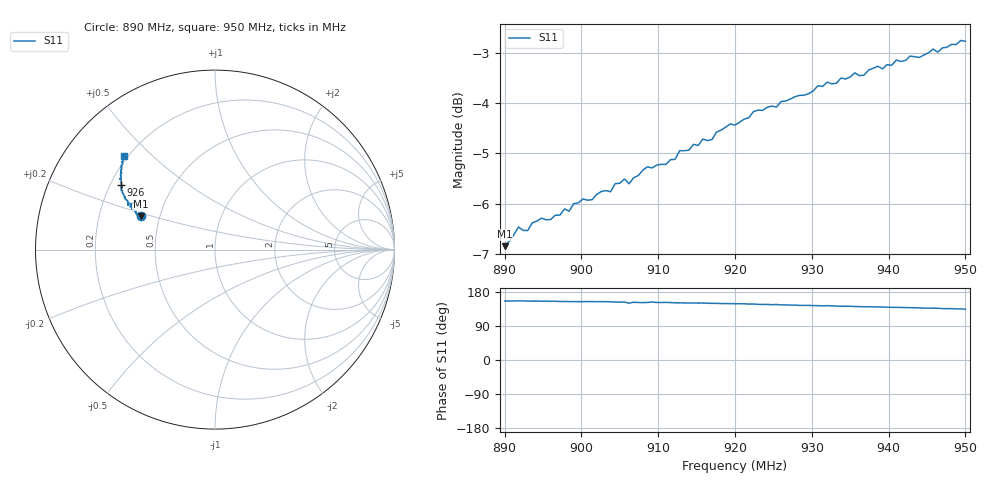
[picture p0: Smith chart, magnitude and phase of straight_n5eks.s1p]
# HZ S RI R 50
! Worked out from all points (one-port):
!   101 points, 890 MHz to 950 MHz, reference 50 ohm
!   lowest |S11| = -6.8 dB at 890 MHz (marker M1), VSWR 2.67, Z = 19.5 + j9.15 ohm
!   |S11| at or under -10 dB: nowhere
!   S11 on the Smith chart (normalised r, x): 890 MHz: 0.39, +0.18; 926 MHz: 0.24, +0.29; 950 MHz: 0.19, +0.41
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8.9e8  -0.415 0.1865
8.918e8  -0.4345 0.1929
8.93e8  -0.4288 0.1961
8.978e8  -0.4468 0.2141
9.014e8  -0.4557 0.22
9.05e8  -0.467 0.2406
9.056e8  -0.4736 0.2391
9.062e8  -0.4541 0.2629
9.068e8  -0.4714 0.2465
9.08e8  -0.4758 0.2583
9.092e8  -0.485 0.2464
9.098e8  -0.4825 0.2588
9.11e8  -0.4845 0.2568
9.122e8  -0.4847 0.27
9.128e8  -0.4943 0.2758
9.2e8  -0.5119 0.3129
9.224e8  -0.5235 0.33
9.248e8  -0.519 0.3511
9.254e8  -0.5209 0.3458
9.26e8  -0.5222 0.3581
9.278e8  -0.5237 0.3681
9.32e8  -0.5316 0.3941
9.35e8  -0.5263 0.4142
9.428e8  -0.5231 0.4689
9.464e8  -0.5158 0.4863
9.47e8  -0.5112 0.5009
9.494e8  -0.514 0.5155
9.5e8  -0.5064 0.5211
